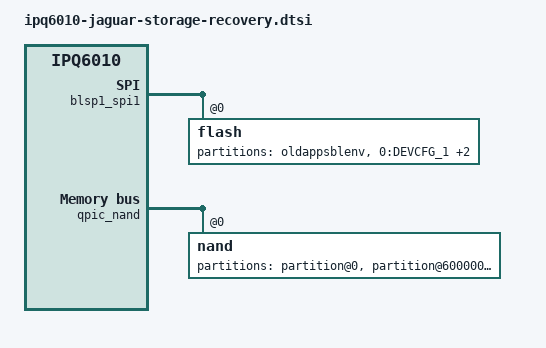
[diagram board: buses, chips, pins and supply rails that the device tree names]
// SPDX-License-Identifier: (GPL-2.0+)

/*
 * OEM 7.2-r1 XV2-2T1 running NOR/NAND layout. Sibling running layouts are
 * still provisional: OEM FIT DTBs omit the bootloader-added partition map.
 * No initial recovery write targets.
 */
&blsp1_spi1 {
	flash@0 {
		partitions {
			partition@510000 {
				label = "oldappsblenv";
				read-only;
				/delete-node/ nvmem-layout;
			};

			partition@6e0000 {
				label = "0:DEVCFG_1";
				reg = <0x6e0000 0x10000>;
				read-only;
			};

			partition@6f0000 {
				label = "0:APPSBLENV";
				reg = <0x6f0000 0x10000>;
				read-only;
				nvmem-layout {
					compatible = "u-boot,env";
					ethaddr: ethaddr { #nvmem-cell-cells = <0>; };
					eth1addr: eth1addr { #nvmem-cell-cells = <0>; };
					eth2addr: eth2addr { #nvmem-cell-cells = <0>; };
					eth5addr: eth5addr { #nvmem-cell-cells = <0>; };
				};
			};

			partition@700000 {
				label = "config";
				reg = <0x700000 0x10000>;
				read-only;
			};
		};
	};
};

&qpic_nand {
	/* RAM diagnostic: OEM 7.2 reports ECC strength 8 in MTD sysfs. */
	compatible = "qcom,ipq6018-nand";
	nand@0 {
		nand-ecc-strength = <8>;
		partitions {
			partition@0 { read-only; };
			partition@6000000 { read-only; };
			partition@c000000 { read-only; };
			partition@f000000 { read-only; };
		};
	};
};
